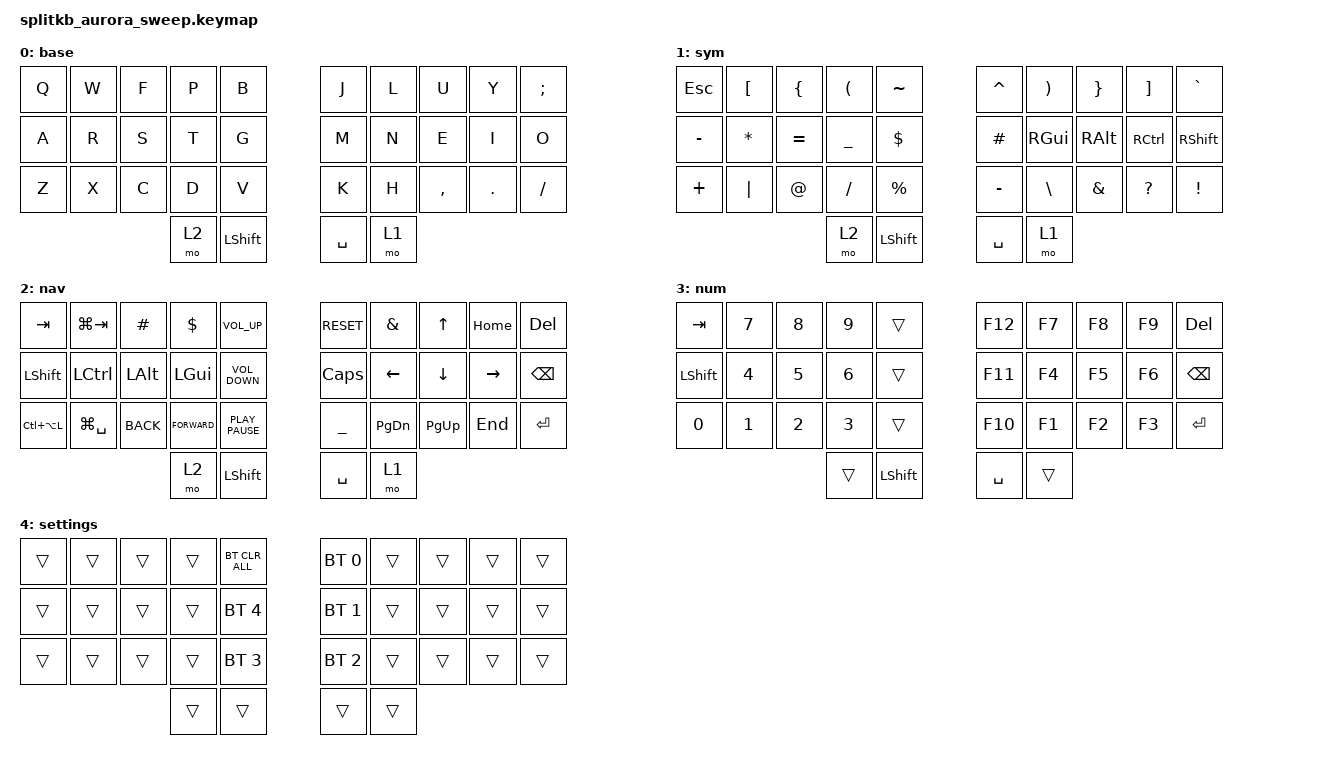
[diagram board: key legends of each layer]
/*
 * Copyright (c) 2022 The ZMK Contributors
 *
 * SPDX-License-Identifier: MIT
 */

#include <behaviors.dtsi>
#include <dt-bindings/zmk/bt.h>
#include <dt-bindings/zmk/keys.h>

&mt {
    //  flavor = "tap-preferred";
    // tapping-term-ms = <200>;
};

/ {
    combos {
        compatible = "zmk,combos";

        combo_esc {
            timeout-ms = <50>;
            key-positions = <0 1>;
            bindings = <&kp ESC>;
        };

        combo_tab {
            timeout-ms = <50>;
            key-positions = <10 11>;
            bindings = <&kp TAB>;
        };

        combo_ralt {
            timeout-ms = <50>;
            key-positions = <17 16>;
            bindings = <&kp RALT>;
        };

        combo_lalt {
            timeout-ms = <50>;
            key-positions = <11 12>;
            bindings = <&kp LALT>;
        };

        combo_lgui {
            timeout-ms = <50>;
            key-positions = <12 13>;
            bindings = <&kp LGUI>;
        };

        combo_rgui {
            timeout-ms = <50>;
            key-positions = <17 18>;
            bindings = <&kp RGUI>;
        };

        Bootloader {
            bindings = <&bootloader>;
            key-positions = <0 9>;
            layers = <4>;
        };

        mo_settings {
            bindings = <&mo 4>;
            key-positions = <32 31>;
        };
    };

    keymap {
        compatible = "zmk,keymap";

        base {
            bindings = <
&kp Q  &kp W           &kp F  &kp P  &kp B    &kp J  &kp L  &kp U      &kp Y      &kp SEMI
&kp A  &kp R           &kp S  &kp T  &kp G    &kp M  &kp N  &kp E      &kp I      &kp O
&kp Z  &kp X           &kp C  &kp D  &kp V    &kp K  &kp H  &kp COMMA  &kp DOT    &kp SLASH
&mo 2  &kp LEFT_SHIFT                                                  &kp SPACE  &mo 1
            >;
        };

        sym {
            bindings = <
&kp ESCAPE  &kp LEFT_BRACKET  &kp LEFT_BRACE  &kp LEFT_PARENTHESIS  &kp TILDE      &kp CARET  &kp RIGHT_PARENTHESIS  &kp RIGHT_BRACE  &kp RIGHT_BRACKET  &kp GRAVE
&kp MINUS   &kp ASTERISK      &kp EQUAL       &kp UNDERSCORE        &kp DOLLAR     &kp HASH   &kp RIGHT_GUI          &kp RIGHT_ALT    &kp RIGHT_CONTROL  &kp RIGHT_SHIFT
&kp PLUS    &kp PIPE          &kp AT_SIGN     &kp SLASH             &kp PERCENT    &kp MINUS  &kp BACKSLASH          &kp AMPERSAND    &kp QUESTION       &kp EXCLAMATION
&mo 2       &kp LEFT_SHIFT                                                                                                            &kp SPACE          &mo 1
            >;
        };

        nav {
            bindings = <
&kp TAB         &kp LG(TAB)     &kp HASH      &kp DLLR       &kp C_VOLUME_UP      &kp C_RESET   &kp AMPS       &kp UP       &kp HOME   &kp DEL
&kp LEFT_SHIFT  &kp LCTRL       &kp LEFT_ALT  &kp LEFT_GUI   &kp C_VOLUME_DOWN    &kp CAPSLOCK  &kp LEFT       &kp DOWN     &kp RIGHT  &kp BACKSPACE
&kp LC(LA(L))   &kp LG(SPACE)   &kp K_BACK    &kp K_FORWARD  &kp K_PLAY_PAUSE     &kp UNDER     &kp PAGE_DOWN  &kp PAGE_UP  &kp END    &kp ENTER
&mo 2           &kp LEFT_SHIFT                                                                                              &kp SPACE  &mo 1
            >;
        };

        num {
            bindings = <
&kp TAB         &kp NUMBER_7    &kp NUMBER_8  &kp N9        &trans    &kp F12  &kp F7  &kp F8  &kp F9     &kp DELETE
&kp LEFT_SHIFT  &kp NUMBER_4    &kp NUMBER_5  &kp NUMBER_6  &trans    &kp F11  &kp F4  &kp F5  &kp F6     &kp BACKSPACE
&kp NUMBER_0    &kp NUMBER_1    &kp NUMBER_2  &kp NUMBER_3  &trans    &kp F10  &kp F1  &kp F2  &kp F3     &kp ENTER
&trans          &kp LEFT_SHIFT                                                                 &kp SPACE  &trans
            >;
        };

        settings {
            bindings = <
&trans  &trans  &trans  &trans  &bt BT_CLR_ALL    &bt BT_SEL 0  &trans  &trans  &trans  &trans
&trans  &trans  &trans  &trans  &bt BT_SEL 4      &bt BT_SEL 1  &trans  &trans  &trans  &trans
&trans  &trans  &trans  &trans  &bt BT_SEL 3      &bt BT_SEL 2  &trans  &trans  &trans  &trans
&trans  &trans                                                                  &trans  &trans
            >;
        };
    };

    conditional_layers {
        compatible = "zmk,conditional-layers";

        num {
            if-layers = <1 2>;
            then-layer = <3>;
        };
    };
};
